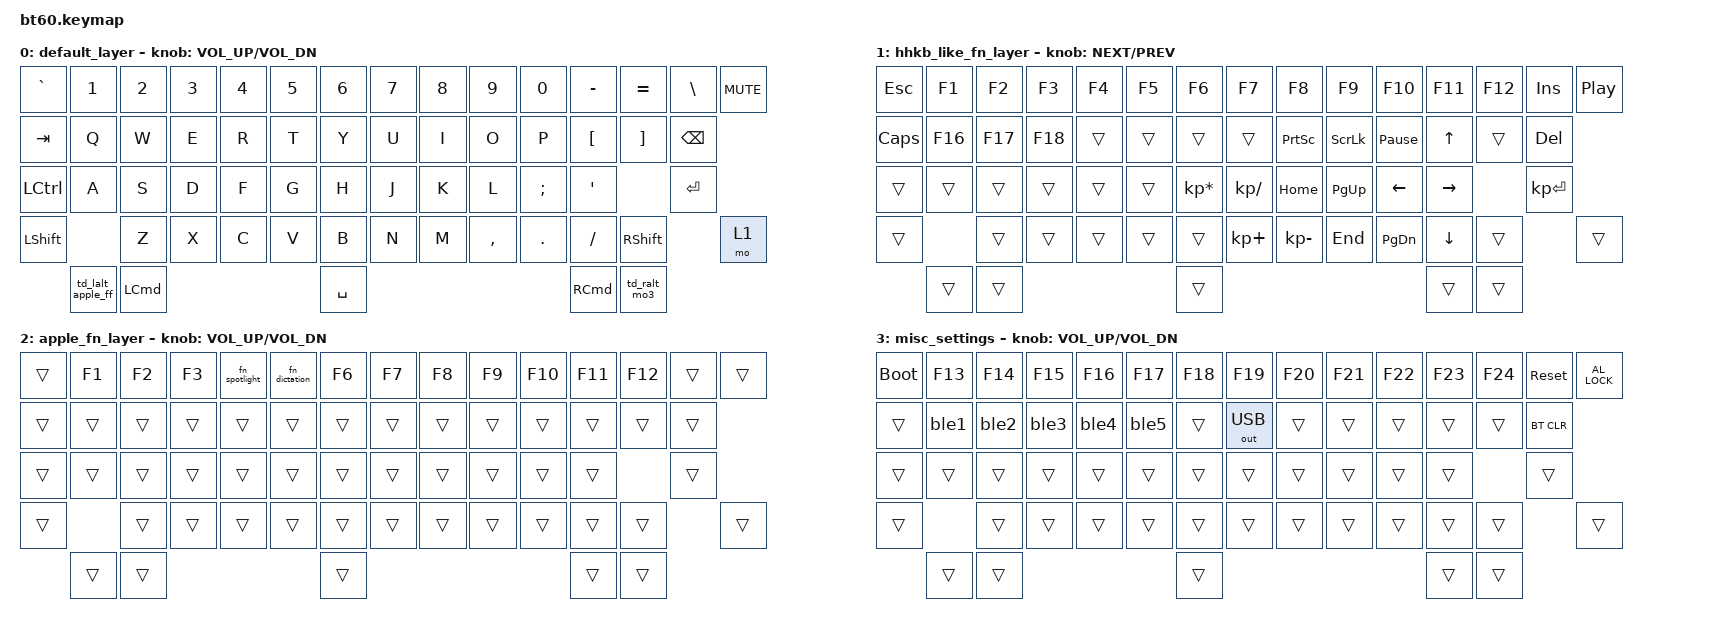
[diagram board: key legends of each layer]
#include <behaviors.dtsi>
#include <dt-bindings/zmk/keys.h>
#include <dt-bindings/zmk/bt.h>
#include <dt-bindings/zmk/outputs.h>

/ {
  behaviors {
    // single -> LALT
    // double -> APPLE_FNn + MO(1)
    td_lalt_apple_ff: td_lalt_apple_ff {
      compatible = "zmk,behavior-tap-dance";
      label = "td_lalt_apple_ff";
      #binding-cells = <0>;
      tapping-term-ms = <200>;
      bindings = <&kp LALT>, <&apple_ff>;
    };
    // single -> RALT
    // double -> MO(3)
    td_ralt_mo3: td_ralt_mo3 {
      compatible = "zmk,behavior-tap-dance";
      label = "td_r_cmd";
      #binding-cells = <0>;
      tapping-term-ms = <200>;
      bindings = <&kp RALT>, <&mo 3>;
    };
  };
  macros {
    ble1: ble1 {
      label = "ble1";
      compatible = "zmk,behavior-macro";
      #binding-cells = <0>;
      bindings
      = <&macro_press &out OUT_BLE>
      , <&macro_press &bt BT_SEL 0>
      , <&macro_pause_for_release>
      , <&macro_release &out OUT_BLE>
      , <&macro_release &bt BT_SEL 0>
      ;
    };
    ble2: ble2 {
      label = "ble2";
      compatible = "zmk,behavior-macro";
      #binding-cells = <0>;
      bindings
      = <&macro_press &out OUT_BLE>
      , <&macro_press &bt BT_SEL 1>
      , <&macro_pause_for_release>
      , <&macro_release &out OUT_BLE>
      , <&macro_release &bt BT_SEL 1>
      ;
    };
    ble3: ble3 {
      label = "ble3";
      compatible = "zmk,behavior-macro";
      #binding-cells = <0>;
      bindings
      = <&macro_press &out OUT_BLE>
      , <&macro_press &bt BT_SEL 2>
      , <&macro_pause_for_release>
      , <&macro_release &out OUT_BLE>
      , <&macro_release &bt BT_SEL 2>
      ;
    };
    ble4: ble4 {
      label = "ble4";
      compatible = "zmk,behavior-macro";
      #binding-cells = <0>;
      bindings
      = <&macro_press &out OUT_BLE>
      , <&macro_press &bt BT_SEL 3>
      , <&macro_pause_for_release>
      , <&macro_release &out OUT_BLE>
      , <&macro_release &bt BT_SEL 3>
      ;
    };
    ble5: ble5 {
      label = "ble5";
      compatible = "zmk,behavior-macro";
      #binding-cells = <0>;
      bindings
      = <&macro_press &out OUT_BLE>
      , <&macro_press &bt BT_SEL 4>
      , <&macro_pause_for_release>
      , <&macro_release &out OUT_BLE>
      , <&macro_release &bt BT_SEL 4>
      ;
    };
    apple_ff: apple_ff {
      label = "apple_ff";
      compatible = "zmk,behavior-macro";
      #binding-cells = <0>;
      bindings
      = <&macro_press &mo 2 &kp APPLE_FN>
      , <&macro_pause_for_release>
      , <&macro_release &mo 2 &kp APPLE_FN>
      ;
    };
    fn_spotlight: fn_spotlight {
      label = "fn_spotlight";
      compatible = "zmk,behavior-macro";
      #binding-cells = <0>;
      bindings
      = <&macro_release &kp APPLE_FN>
      , <&macro_press &kp C_AC_SEARCH>
      , <&macro_press &kp APPLE_FN>
      , <&macro_pause_for_release>
      , <&macro_release &kp C_AC_SEARCH>
      ;
    };
    fn_dictation: fn_dictation {
      label = "fn_dictation";
      compatible = "zmk,behavior-macro";
      #binding-cells = <0>;
      bindings
      = <&macro_release &kp APPLE_FN>
      , <&macro_press &kp C_VOICE_COMMAND>
      , <&macro_press &kp APPLE_FN>
      , <&macro_pause_for_release>
      , <&macro_release &kp C_VOICE_COMMAND>
      ;
    };
  };
  keymap {
    compatible = "zmk,keymap";
    default_layer {
        // -------------------------------------------------------------------------------------------
        // |  `  |  1  |  2  |  3  |  4  |  5  |  6  |  7  |  8  |  9  |  0  |  -  |  =  |  \  |EC11 |
        // -------------------------------------------------------------------------------------------
        // | TAB    |  Q  |  W  |  E  |  R  |  T  |  Y  |  U  |  I  |  O  |  P  |  [  |  ]  | Bkspc  |
        // -------------------------------------------------------------------------------------------
        // | CAPS     |  A  |  S  |  D  |  F  |  G  |  H  |  J  |  K  |  L  |  ;  |  '  |     ENTER  |
        // -------------------------------------------------------------------------------------------
        // |  SHIFT     |  Z  |  X  |  C  |  V  |  B  |  N  |  M  |  ,  |  .  |  /  |  SHIFT   | MO1 |
        // ------------------------------------------------------------------------------------------
        //          | Opt |  Cmd  |            SPACE                         |  Cmd   | Opt |
        //          -------------------------------------------------------------------------
      bindings = <
        &kp GRAVE  &kp N1             &kp N2    &kp N3  &kp N4  &kp N5  &kp N6  &kp N7  &kp N8   &kp N9     &kp N0    &kp MINUS  &kp EQUAL  &kp BSLH  &kp C_MUTE
        &kp TAB    &kp Q              &kp W     &kp E   &kp R   &kp T   &kp Y   &kp U   &kp I    &kp O      &kp P     &kp LBKT   &kp RBKT   &kp BSPC
        &kp LCTRL  &kp A              &kp S     &kp D   &kp F   &kp G   &kp H   &kp J   &kp K    &kp L      &kp SEMI  &kp SQT               &kp RET
        &kp LSHFT                     &kp Z     &kp X   &kp C   &kp V   &kp B   &kp N   &kp M    &kp COMMA  &kp DOT   &kp FSLH   &kp RSHIFT           &mo 1
                   &td_lalt_apple_ff  &kp LCMD                          &kp SPACE                                     &kp RCMD   &td_ralt_mo3
      >;
      sensor-bindings = <&inc_dec_kp C_VOL_UP C_VOL_DN>;
    };
    hhkb_like_fn_layer {
      bindings = <
        &kp ESC   &kp F1     &kp F2     &kp F3   &kp F4  &kp F5   &kp F6           &kp F7         &kp F8        &kp F9     &kp F10          &kp F11   &kp F12  &kp INS  &kp C_PP
        &kp CAPS  &kp F16    &kp F17    &kp F18  &trans  &trans   &trans           &trans         &kp PSCRN     &kp SLCK   &kp PAUSE_BREAK  &kp UP    &trans   &kp DEL
        &trans    &trans     &trans     &trans   &trans  &trans   &kp KP_MULTIPLY  &kp KP_DIVIDE  &kp HOME      &kp PG_UP  &kp LEFT         &kp RIGHT          &kp KP_ENTER
        &trans               &trans     &trans   &trans  &trans   &trans           &kp KP_PLUS    &kp KP_MINUS  &kp END    &kp PG_DN        &kp DOWN  &trans            &trans
                  &trans     &trans                                                &trans                                                   &trans    &trans
      >;
      sensor-bindings = <&inc_dec_kp C_NEXT C_PREV>;
    };
    apple_fn_layer {
      bindings = <
        &trans  &kp F1  &kp F2  &kp F3  &fn_spotlight  &fn_dictation  &kp F6  &kp F7  &kp F8  &kp F9  &kp F10  &kp F11  &kp F12  &trans  &trans
        &trans  &trans  &trans  &trans  &trans         &trans         &trans  &trans  &trans  &trans  &trans   &trans   &trans   &trans
        &trans  &trans  &trans  &trans  &trans         &trans         &trans  &trans  &trans  &trans  &trans   &trans            &trans
        &trans          &trans  &trans  &trans         &trans         &trans  &trans  &trans  &trans  &trans   &trans   &trans           &trans
                &trans  &trans                                        &trans                                   &trans   &trans
      >;
      sensor-bindings = <&inc_dec_kp C_VOL_UP C_VOL_DN>;
    };
    misc_settings {
      bindings = <
        &bootloader  &kp F13 &kp F14  &kp F15  &kp F16  &kp F17  &kp F18  &kp F19       &kp F20  &kp F21  &kp F22  &kp F23  &kp F24  &sys_reset  &kp C_AL_LOCK
        &trans       &ble1   &ble2    &ble3    &ble4    &ble5    &trans   &out OUT_USB  &trans   &trans   &trans   &trans   &trans   &bt BT_CLR
        &trans       &trans  &trans   &trans   &trans   &trans   &trans   &trans        &trans   &trans   &trans   &trans            &trans
        &trans               &trans   &trans   &trans   &trans   &trans   &trans        &trans   &trans   &trans   &trans   &trans               &trans
                     &trans  &trans                              &trans                                            &trans   &trans
        >;
      sensor-bindings = <&inc_dec_kp C_VOL_UP C_VOL_DN>;
    };
  };
};
